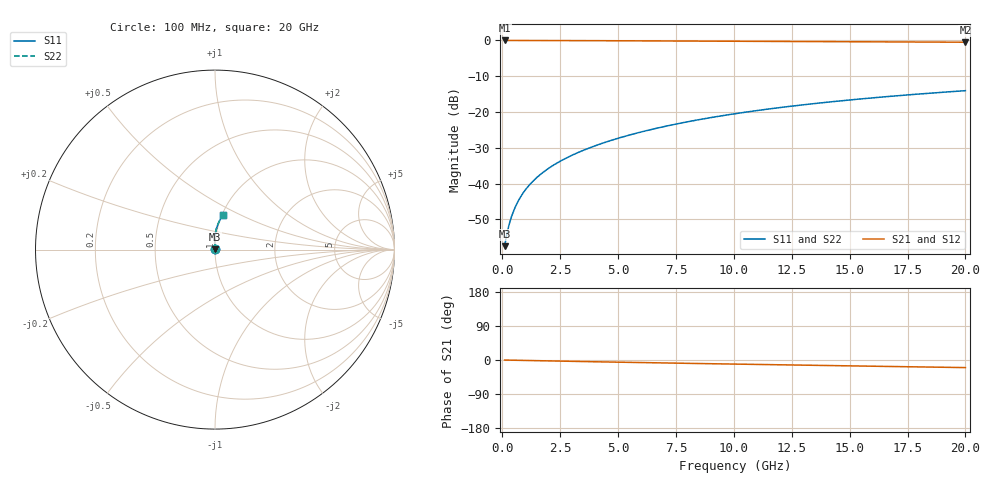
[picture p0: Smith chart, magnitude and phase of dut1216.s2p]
! Touchstone file exported from HFSS 2024.1.0
!  File:  C:/UserFiles/LocalFiles/RDL_TSV_Batchsim/temp_RDL_top_1216_1780240084.aedt
!  Generated:  11:10:07 PM May 31, 2026
!  Design:  RDL_top
!  Project:  temp_RDL_top_1216_1780240084
!  Setup:  Setup1
!  Solution:  Sweep
! Variables:
!  dtsv = 10.80580581um
!  hbump = 3um
!  htsv = 72.05um
!  ldown = 100um
!  lrdl = 266.31um
!  p = 40
!  p1 = 52.75um
!  rhole = 1um
!  t = 450um
!  tdown = 3.915915916um
!  trdl = 4.58um
!  wdown = 15.38538539um
!  wrdl = 25.6um
# GHz S MA R 50.000000
! Terminal data exported
! Port[1] = Box2_T1
! Port[2] = Box2_T2
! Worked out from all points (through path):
!   200 points, 100 MHz to 20 GHz, reference 50 ohm
!   highest |S21| = -0.01 dB at 100 MHz (marker M1); lowest = -0.5 dB at 20 GHz (marker M2)
!   group delay of S21, straight-line fit = 2.74 ps
!   lowest |S11| = -57.5 dB at 100 MHz (marker M3), VSWR 1.00, Z = 50.1 + j0.0896 ohm
!   |S11| at or under -10 dB: start of sweep to end of sweep
!   |S22| runs from -57.5 to -14.0 dB; largest |S21 - S12| = 2.9e-15
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0.1  0.001334 42.1  0.999 -0.1  0.999 -0.1  0.001334 42.1
! Gamma 0 0 0 0
! Port Impedance 50 0 50 0
0.2  0.001998 58.4  0.9989 -0.2  0.9989 -0.2  0.001999 58.4
0.3  0.002714 66.8  0.9988 -0.4  0.9988 -0.4  0.002715 66.8
0.4  0.003462 71.9  0.9988 -0.5  0.9988 -0.5  0.003462 71.9
0.5  0.004229 75.3  0.9987 -0.6  0.9987 -0.6  0.004229 75.3
0.6  0.005008 77.7  0.9986 -0.7  0.9986 -0.7  0.005008 77.7
0.8  0.006587 80.9  0.9984 -1.0  0.9984 -1.0  0.006587 80.9
1.1  0.008987 83.7  0.9982 -1.3  0.9982 -1.3  0.008987 83.7
1.5  0.01222 85.9  0.9977 -1.8  0.9977 -1.8  0.01222 85.9
1.8  0.01468 87.0  0.9972 -2.1  0.9972 -2.1  0.01468 87.0
2.1  0.01716 87.8  0.9967 -2.5  0.9967 -2.5  0.01716 87.8
2.7  0.0222 89.1  0.9954 -3.2  0.9954 -3.2  0.0222 89.1
3.5  0.02915 90.2  0.9935 -4.1  0.9935 -4.1  0.02915 90.2
4.2  0.03546 90.7  0.9915 -4.9  0.9915 -4.9  0.03546 90.7
5  0.04293 91.0  0.9891 -5.7  0.9891 -5.7  0.04293 91.0
6.8  0.06064 90.7  0.9834 -7.6  0.9834 -7.6  0.06064 90.7
8.4  0.07716 89.7  0.9782 -9.2  0.9782 -9.2  0.07716 89.7
10.1  0.09513 88.2  0.9729 -10.9  0.9729 -10.9  0.09513 88.2
11.7  0.1122 86.5  0.9681 -12.4  0.9681 -12.4  0.1122 86.5
13.4  0.1303 84.6  0.9631 -14.0  0.9631 -14.0  0.1303 84.6
16.7  0.165 80.8  0.9536 -17.0  0.9536 -17.0  0.165 80.8
20  0.1985 77.1  0.9441 -20.0  0.9441 -20.0  0.1985 77.1
